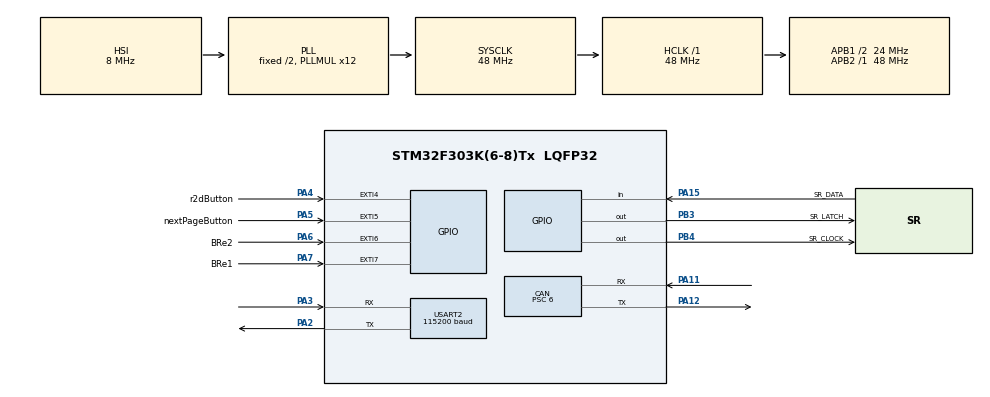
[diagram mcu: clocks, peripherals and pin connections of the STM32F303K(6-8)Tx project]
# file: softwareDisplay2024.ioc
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CAN.BS1=CAN_BS1_5TQ
CAN.BS2=CAN_BS2_2TQ
CAN.CalculateBaudRate=500000
CAN.CalculateTimeBit=2000
CAN.CalculateTimeQuantum=250.0
CAN.Prescaler=6
CAN.SJW=CAN_SJW_1TQ
Mcu.Family=STM32F3
Mcu.Name=STM32F303K(6-8)Tx
Mcu.Package=LQFP32
NVIC.CAN_RX0_IRQn=true\:0\:0\:false\:true\:true\:3\:true\:true\:true
NVIC.EXTI4_IRQn=true\:0\:0\:false\:true\:true\:2\:true\:true\:true
NVIC.EXTI9_5_IRQn=true\:0\:0\:false\:true\:true\:1\:true\:true\:true
NVIC.PriorityGroup=NVIC_PRIORITYGROUP_4
NVIC.TIM3_IRQn=true\:0\:0\:false\:false\:true\:true\:true\:true
PA11.Mode=CAN_Activate
PA11.Signal=CAN_RX
PA12.Mode=CAN_Activate
PA12.Signal=CAN_TX
PA13.Mode=Serial_Wire
PA13.Signal=SYS_JTMS-SWDIO
PA14.Mode=Serial_Wire
PA14.Signal=SYS_JTCK-SWCLK
PA15.GPIO_Label=SR_DATA
PA15.Signal=GPIO_Input
PA2.Mode=Asynchronous
PA2.Signal=USART2_TX
PA3.Mode=Asynchronous
PA3.Signal=USART2_RX
PA4.GPIO_Label=r2dButton
PA4.GPIO_ModeDefaultEXTI=GPIO_MODE_IT_FALLING
PA4.GPIO_PuPd=GPIO_PULLUP
PA4.Signal=GPXTI4
PA5.GPIO_Label=nextPageButton
PA5.GPIO_ModeDefaultEXTI=GPIO_MODE_IT_FALLING
PA5.GPIO_PuPd=GPIO_PULLUP
PA5.Signal=GPXTI5
PA6.GPIO_Label=BRe2
PA6.GPIO_ModeDefaultEXTI=GPIO_MODE_IT_RISING_FALLING
PA6.GPIO_PuPd=GPIO_PULLUP
PA6.Signal=GPXTI6
PA7.GPIO_Label=BRe1
PA7.GPIO_ModeDefaultEXTI=GPIO_MODE_IT_RISING_FALLING
PA7.GPIO_PuPd=GPIO_PULLUP
PA7.Signal=GPXTI7
PB3.GPIO_Label=SR_LATCH
PB3.Signal=GPIO_Output
PB4.GPIO_Label=SR_CLOCK
PB4.Signal=GPIO_Output
PF0\ /\ OSC_IN.Mode=HSE-External-Oscillator
PF0\ /\ OSC_IN.Signal=RCC_OSC_IN
PF1\ /\ OSC_OUT.Mode=HSE-External-Oscillator
PF1\ /\ OSC_OUT.Signal=RCC_OSC_OUT
ProjectManager.HeapSize=0x200
ProjectManager.StackSize=0x400
ProjectManager.TargetToolchain=STM32CubeIDE
RCC.AHBFreq_Value=48000000
RCC.APB1CLKDivider=RCC_HCLK_DIV2
RCC.APB1Freq_Value=24000000
RCC.APB1TimFreq_Value=48000000
RCC.APB2Freq_Value=48000000
RCC.APB2TimFreq_Value=48000000
RCC.CortexFreq_Value=48000000
RCC.HCLKFreq_Value=48000000
RCC.HSE_VALUE=8000000
RCC.HSI_VALUE=8000000
RCC.PLLMUL=RCC_PLL_MUL12
RCC.SYSCLKFreq_VALUE=48000000
RCC.SYSCLKSourceVirtual=RCC_SYSCLKSOURCE_PLLCLK
TIM3.AutoReloadPreload=TIM_AUTORELOAD_PRELOAD_ENABLE
TIM3.Period=19999
TIM3.Prescaler=4799
USART2.BaudRate=115200
USART2.VirtualMode-Asynchronous=VM_ASYNC
VP_TIM3_VS_ClockSourceINT.Mode=Internal
VP_TIM3_VS_OPM.Mode=OPM_bit
board=custom

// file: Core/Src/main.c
/* USER CODE BEGIN Header */
/**
  ******************************************************************************
  * @file           : main.c
  * @brief          : Main program body
  ******************************************************************************
  * @attention
  *
  * Copyright (c) 2024 STMicroelectronics.
  * All rights reserved.
  *
  * This software is licensed under terms that can be found in the LICENSE file
  * in the root directory of this software component.
  * If no LICENSE file comes with this software, it is provided AS-IS.
  *
  ******************************************************************************
  */
/* USER CODE END Header */
#include "main.h"
#include "can.h"
#include "tim.h"
#include "usart.h"
#include "gpio.h"

/* USER CODE BEGIN Includes */
#include "shift_register.h"
#include <string.h>
#include <stdlib.h>

/* USER CODE END Includes */

/* USER CODE BEGIN PV */

//daeliminare
volatile uint8_t flagOK = 0;
volatile uint8_t flagR1 = 0, flagR2 = 0;	//flag per bottoni reset
volatile uint8_t flagNewMap = 0;
uint16_t freniData = 1;
uint16_t r2dData = 0;
uint16_t mapData = 0;
CAN_TxHeaderTypeDef r2dTxHeader, mapTxHeader;
CAN_FilterTypeDef can_filter;
CAN_RxHeaderTypeDef RxHeader;
uint8_t RxData[8];
uint32_t TxMailbox;

uint16_t vehicleSpeed = 0;
uint16_t tempBatteries;
uint16_t voltBattery = 0;	//lo considero intero (moltiplicato *10 quando arriva)
uint16_t tempMot1;
uint16_t tempMot2;
uint16_t tempAvgMot;
uint16_t tempInverter1;
uint16_t tempInverter2;
uint16_t tempAvgInverter;
uint16_t statoBatteria;
uint8_t pageRefreshata = 1;
uint8_t newData = 0;
uint8_t flagError = 0;
char errorName[20] = " ";

uint32_t millisFlagsInterrupt[NFlagsInterrupt];	//indica quando è stato chiamato quell'interrupt
volatile uint8_t flagsUsable[NFlagsInterrupt] = {1,1};

//nomi delle variabili degli elementi sul nextion (manca il r2d,caso particolare)
char names[Ndata][50]= {"page","speed_value.txt","battery_temp2.txt","lv_battery.txt","engine_tempLX2.txt",
		"engine_tempRX2.txt","engine_temp1.txt","inverter_temp1.txt","engine_mod.txt","battery_bar.val","error_id.txt"};
uint16_t currentPageDisplay = 0;
uint8_t cmd_end[3] = {0xFF,0xFF,0xFF}; //per inviare il comando
char pageDisplayArray[][5] = {"main","temp"};

uint8_t flags[Ndata];
uint8_t active[Ndata] = {-1,1,0,1,0,0,1,0,1,1,1,1};	//indica se l'elemento è attivo. Attivo -> è presente nella pagina attuale.  Inizializzato con lo stato della pagina principale
uint32_t lastMillis[Ndata];
uint16_t* arrayData[Ndata] = {&currentPageDisplay,&vehicleSpeed,&tempBatteries,&voltBattery,&tempMot1,&tempMot2,&tempAvgMot,&tempAvgInverter,&mapData,&statoBatteria,&r2dData,&flagError};
//arrayData = array di PUNTATORI delle variabili contenenti i dati
/*
arrayData[0] = currentPage del display
arrayData[1] = vehicleSpeed
arrayData[2] = temperatura batterie
arrayData[3] = voltaggio batterie
arrayData[4] = tempMotore 1 SINISTRA
arrayData[5] = tempMotore 2 DESTRA	//si aggiornano insieme
arrayData[6] = temperatura media motore
arrayData[7] = tempAvgInverter
arrayData[8] = mappa
arrayData[9] = Stato Batteria (in percentuale)
arrayData[10] = r2d
arrayData[11] = errorID
CASI PARTICOLARI POSIZONI = 9,10 ->  statoBatteria = intero | r2d = mostrare/nascondere
PAGINA 1 POSIZONI = 1,3,6,8,9,10	//page non appartiene a nessuna pagina
PAGINA 2 POSIZIONI = 2,4,5,7
 * */

/* USER CODE END PV */

void SystemClock_Config(void);
static void MX_NVIC_Init(void);

int main(void)
{

  /* USER CODE BEGIN 1 */
	  char msg[40] = " ";
	  int len;
  /* USER CODE END 1 */

  /* MCU Configuration--------------------------------------------------------*/

  /* Reset of all peripherals, Initializes the Flash interface and the Systick. */
  HAL_Init();

  /* Configure the system clock */
  SystemClock_Config();

  /* USER CODE BEGIN SysInit */
  MX_USART2_UART_Init();
  HAL_Delay(500);
  len = sprintf(msg, "page logoStart");
  HAL_UART_Transmit(&huart2,(uint8_t*)msg,len,HAL_MAX_DELAY);
  HAL_UART_Transmit(&huart2,cmd_end,3,HAL_MAX_DELAY); //invio comandi = esegue
  HAL_Delay(2000);	//delay
  /* USER CODE END SysInit */

  /* Initialize all configured peripherals */
  MX_GPIO_Init();
  MX_CAN_Init();
  MX_USART2_UART_Init();
  MX_TIM3_Init();

  /* Initialize interrupts */
  MX_NVIC_Init();
  /* USER CODE BEGIN 2 */
  //CAN_setup();	//avvia il CAN + filtro
  int tempo=0;
  HAL_Delay(100);
  uint32_t currMillis = HAL_GetTick();
  flagOK = 1;
  len = sprintf(msg, "page main");
  HAL_UART_Transmit(&huart2,(uint8_t*)msg,len,HAL_MAX_DELAY);
  HAL_UART_Transmit(&huart2,cmd_end,3,HAL_MAX_DELAY); //invio comandi = esegue
  /* USER CODE END 2 */

  /* Infinite loop */
  /* USER CODE BEGIN WHILE */
  while (1)
  {	   currMillis = HAL_GetTick();

  	  /*
  	  if(tempo == 100){
  		  //CODICE PER GENERARE DATI FITTIZI
  		  *arrayData[1] = rand()%200;			//speed
  		  *arrayData[2] = rand()%100;				//temp batt
  		  *arrayData[3] = rand()%15;				//lv batter
  		  *arrayData[4] = rand()%100;			//temp sx engine
  		  *arrayData[5] = rand()%100;			//temp dx engine
  		  *arrayData[6] = rand()%100;			//temp engine
  		  *arrayData[7] = rand()%100;			//temp inver
  		  //*arrayData[8] = rand()%3 +1;					//mappa
  		  //*arrayData[10] = rand()%2 ;
  		  //newData++;
  		  tempo = 0;
  	  }*/  		 // *arrayData[9] = rand()%100;					//statoBatteria

				//r2d
  	  //vehicleSpeed++;
  	 // flags[1]=1;

	  if(flags[0]==1){
			char msg[30] = " ";
			int len = sprintf(msg,"page %s",pageDisplayArray[currentPageDisplay]);
			HAL_UART_Transmit(&huart2,(uint8_t*)msg,len,HAL_MAX_DELAY);
			HAL_UART_Transmit(&huart2,cmd_end,3,HAL_MAX_DELAY); //invio comandi = esegue
			flags[0]=0;
			HAL_Delay(30);
			pageRefreshata=1;
	  }

	  for(uint8_t i=1;i<Ndata;i++ ){
		  if ((flags[i] == 1 && !flagNewMap) || ((active[i] == 1 || active[i]==2) && (currMillis-lastMillis[i] > 2000))){	//al massimo ogni due secondi ogni valore si aggiorna (display)
		//if ((flags[i] == 1 && !flagNewMap) || (i==10 && flags[i]==1) || ((active[i] == 1 || active[i]==2) && (currMillis-lastMillis[i] > 50000000))){	//al massimo ogni due secondi ogni valore si aggiorna (display)
			  //mandare al nextion
			  if (i==8){
				 MapValue();
			  }
			  flags[i] = 0;
			  if(i==12){
					  flagR1=0;
					  flagR2=0;
					  lastMillis[12] = HAL_GetTick();
					  lastMillis[13] = HAL_GetTick();
					  continue;
				  }
			  NEXTION_SendString(names[i], *arrayData[i], i);
			  lastMillis[i] = HAL_GetTick();
			  HAL_Delay(4);
		  }
	  }

	  for (uint8_t i=0;i<NFlagsInterrupt;i++){
		  if(!flagsUsable[i]){
			  if(currMillis - millisFlagsInterrupt[i] > 500){
					 flagsUsable[i] = 1;
			  }
		  }
	  }
    /* USER CODE END WHILE */

    /* USER CODE BEGIN 3 */
	  //tempo++;
	  //tempo=0;
	  //HAL_Delay(10);  //tempo++;
  }
  /* USER CODE END 3 */
}

void SystemClock_Config(void)
{
  RCC_OscInitTypeDef RCC_OscInitStruct = {0};
  RCC_ClkInitTypeDef RCC_ClkInitStruct = {0};

  /** Initializes the RCC Oscillators according to the specified parameters
  * in the RCC_OscInitTypeDef structure.
  */
  RCC_OscInitStruct.OscillatorType = RCC_OSCILLATORTYPE_HSI;
  RCC_OscInitStruct.HSIState = RCC_HSI_ON;
  RCC_OscInitStruct.HSICalibrationValue = RCC_HSICALIBRATION_DEFAULT;
  RCC_OscInitStruct.PLL.PLLState = RCC_PLL_ON;
  RCC_OscInitStruct.PLL.PLLSource = RCC_PLLSOURCE_HSI;
  RCC_OscInitStruct.PLL.PLLMUL = RCC_PLL_MUL12;
  if (HAL_RCC_OscConfig(&RCC_OscInitStruct) != HAL_OK)
  {
    Error_Handler();
  }

  /** Initializes the CPU, AHB and APB buses clocks
  */
  RCC_ClkInitStruct.ClockType = RCC_CLOCKTYPE_HCLK|RCC_CLOCKTYPE_SYSCLK
                              |RCC_CLOCKTYPE_PCLK1|RCC_CLOCKTYPE_PCLK2;
  RCC_ClkInitStruct.SYSCLKSource = RCC_SYSCLKSOURCE_PLLCLK;
  RCC_ClkInitStruct.AHBCLKDivider = RCC_SYSCLK_DIV1;
  RCC_ClkInitStruct.APB1CLKDivider = RCC_HCLK_DIV2;
  RCC_ClkInitStruct.APB2CLKDivider = RCC_HCLK_DIV1;

  if (HAL_RCC_ClockConfig(&RCC_ClkInitStruct, FLASH_LATENCY_1) != HAL_OK)
  {
    Error_Handler();
  }
}

/**
  * @brief NVIC Configuration.
  * @retval None
  */
static void MX_NVIC_Init(void)
{
  /* EXTI9_5_IRQn interrupt configuration */
  HAL_NVIC_SetPriority(EXTI9_5_IRQn, 0, 0);
  HAL_NVIC_EnableIRQ(EXTI9_5_IRQn);
  /* EXTI4_IRQn interrupt configuration */
  HAL_NVIC_SetPriority(EXTI4_IRQn, 0, 0);
  HAL_NVIC_EnableIRQ(EXTI4_IRQn);
  /* CAN_RX0_IRQn interrupt configuration */
  HAL_NVIC_SetPriority(CAN_RX0_IRQn, 0, 0);
  HAL_NVIC_EnableIRQ(CAN_RX0_IRQn);
}

/* USER CODE BEGIN 4 */
//comunica con il nextion, inva messaggi tipo "oggetto.txt/val = {valore}" + 3volte comando 0xFF per eseguire
void NEXTION_SendString (char* elemento,int valore,int index){ //tipo può essere txt o val
	char buff[50];
	int len;
	switch (index){	//battery bar value
	case 9:
		len = sprintf(buff,"%s=%d",elemento,valore);
		HAL_UART_Transmit(&huart2,(uint8_t*)buff,len,HAL_MAX_DELAY);
		HAL_UART_Transmit(&huart2,cmd_end,3,HAL_MAX_DELAY); //invio comandi = esegue
		if(valore < 15){
			len = sprintf(buff,"battery_bar.pco=59392");
		} else if (valore> 50){
			len = sprintf(buff,"battery_bar.pco=1796");
		} else{
			len = sprintf(buff,"battery_bar.pco=65504");
		}
		HAL_UART_Transmit(&huart2,(uint8_t*)buff,len,HAL_MAX_DELAY);
		HAL_UART_Transmit(&huart2,cmd_end,3,HAL_MAX_DELAY); //invio comandi = esegue
		break;
	case 10:	//r2d
		switch (r2dData){
			case 0:
				len = sprintf(buff,"vis rtd_red,1");
				HAL_UART_Transmit(&huart2,(uint8_t*)buff,len,HAL_MAX_DELAY);
				HAL_UART_Transmit(&huart2,cmd_end,3,HAL_MAX_DELAY); //invio comandi = esegue
				len = sprintf(buff,"vis rtd_green,0");
				HAL_UART_Transmit(&huart2,(uint8_t*)buff,len,HAL_MAX_DELAY);
				HAL_UART_Transmit(&huart2,cmd_end,3,HAL_MAX_DELAY); //invio comandi = esegue
				break;
			case 1:
				len = sprintf(buff,"vis rtd_red,0");
				HAL_UART_Transmit(&huart2,(uint8_t*)buff,len,HAL_MAX_DELAY);
				HAL_UART_Transmit(&huart2,cmd_end,3,HAL_MAX_DELAY); //invio comandi = esegue
				len = sprintf(buff,"vis rtd_green,1");
				HAL_UART_Transmit(&huart2,(uint8_t*)buff,len,HAL_MAX_DELAY);
				HAL_UART_Transmit(&huart2,cmd_end,3,HAL_MAX_DELAY); //invio comandi = esegue
				break;
		}
		break;
	case 7:
		len = sprintf(buff,"%s=\"%d\"",elemento,valore);
		HAL_UART_Transmit(&huart2,(uint8_t*)buff,len,HAL_MAX_DELAY);
		HAL_UART_Transmit(&huart2,cmd_end,3,HAL_MAX_DELAY);
		len = sprintf(buff,"inverter_temp2.txt=\"%d\"",valore);
		HAL_UART_Transmit(&huart2,(uint8_t*)buff,len,HAL_MAX_DELAY);
		HAL_UART_Transmit(&huart2,cmd_end,3,HAL_MAX_DELAY);
		break;
	case 14:
		//caso errore
		if(flagError){
			char mmm[15] = "R-MAP";
			if(strcmp(errorName,mmm)){
				len = sprintf(buff,"%s=\"%s\"",elemento,valore);
			}
		} else{
			len = sprintf(buff,"%s=\"---\"",elemento);
		}
		HAL_UART_Transmit(&huart2,(uint8_t*)buff,len,HAL_MAX_DELAY);
		HAL_UART_Transmit(&huart2,cmd_end,3,HAL_MAX_DELAY);
		break;
	case 3:
		len = sprintf(buff,"%s=\"%dV\"",elemento,(int)(valore));
		HAL_UART_Transmit(&huart2,(uint8_t*)buff,len,HAL_MAX_DELAY);
		HAL_UART_Transmit(&huart2,cmd_end,3,HAL_MAX_DELAY); //invio comandi = esegue
		break;
	default:
		//caso generale
		len = sprintf(buff,"%s=\"%d\"",elemento,valore);
		HAL_UART_Transmit(&huart2,(uint8_t*)buff,len,HAL_MAX_DELAY);
		HAL_UART_Transmit(&huart2,cmd_end,3,HAL_MAX_DELAY); //invio comandi = esegue
		break;
	}
}

void MapValue(){
	if (flagOK){
		char msg[35] = " ";
		int len;
		if(checkMapValue()){
			len = sprintf(msg,"page MapPopUp");
			HAL_UART_Transmit(&huart2, &msg, len, HAL_MAX_DELAY);
			HAL_UART_Transmit(&huart2,cmd_end,3,HAL_MAX_DELAY);
			len = sprintf(msg,"mapValue.txt=\"%d\"",*arrayData[8]);
			HAL_UART_Transmit(&huart2, &msg, len, HAL_MAX_DELAY);
			HAL_UART_Transmit(&huart2,cmd_end,3,HAL_MAX_DELAY); //invio comandi = esegue
			HAL_TIM_Base_Start_IT(&htim3); //avvia timer in mode one-pulse
		}
	}
}

void system_reset() {
	__disable_irq(); // Disabilita tutti gli interrupt
	NVIC_SystemReset();	//resetta il microcontrollore, senza togliere l'alimentazione dai pin
}

/* USER CODE END 4 */

void Error_Handler(void)
{
  __disable_irq();
  while (1)
  {
  }
}
